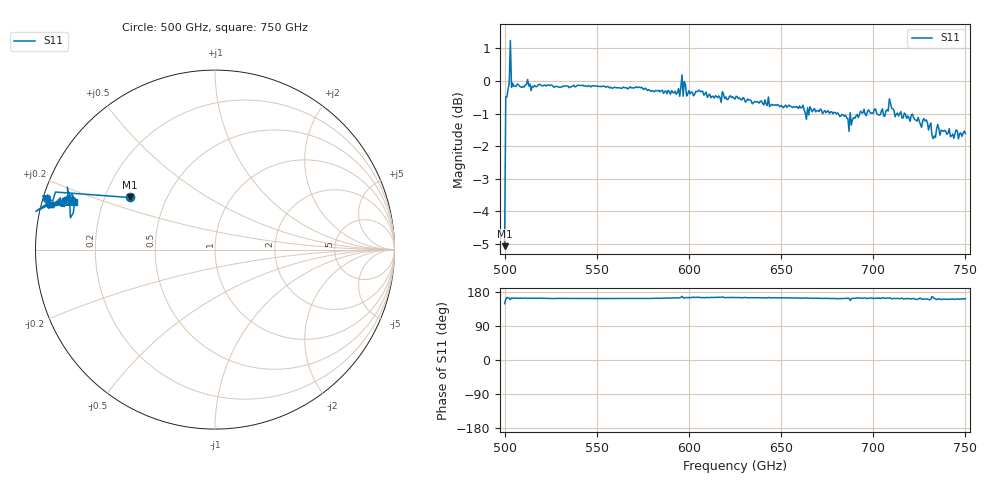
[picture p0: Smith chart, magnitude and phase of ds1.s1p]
# GHz S RI R 50.0
!freq	ReS11	ImS11
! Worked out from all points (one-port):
!   401 points, 500 GHz to 750 GHz, reference 50 ohm
!   lowest |S11| = -5.1 dB at 500 GHz (marker M1), VSWR 3.52, Z = 15.2 + j12.8 ohm
!   |S11| at or under -10 dB: nowhere
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500  -0.4763 0.2903
501.25  -0.9125 0.2442
501.875  -0.9328 0.2693
503.125  -1.08 0.4045
504.375  -0.9497 0.287
505  -0.9397 0.2819
531.25  -0.9365 0.2931
562.5  -0.9303 0.2948
576.875  -0.926 0.2936
593.75  -0.9197 0.2743
596.875  -0.9125 0.2543
600  -0.9325 0.2541
617.5  -0.8967 0.2347
625  -0.9045 0.2474
656.25  -0.8737 0.2557
680  -0.8459 0.2769
685  -0.8445 0.2657
687.5  -0.8233 0.348
691.25  -0.8535 0.2463
706.875  -0.8586 0.2652
708.75  -0.9023 0.2591
713.125  -0.852 0.2662
718.75  -0.8385 0.278
730  -0.7887 0.2916
732.5  -0.7891 0.2056
735.625  -0.8001 0.2648
743.125  -0.7828 0.2725
750  -0.7868 0.2648
